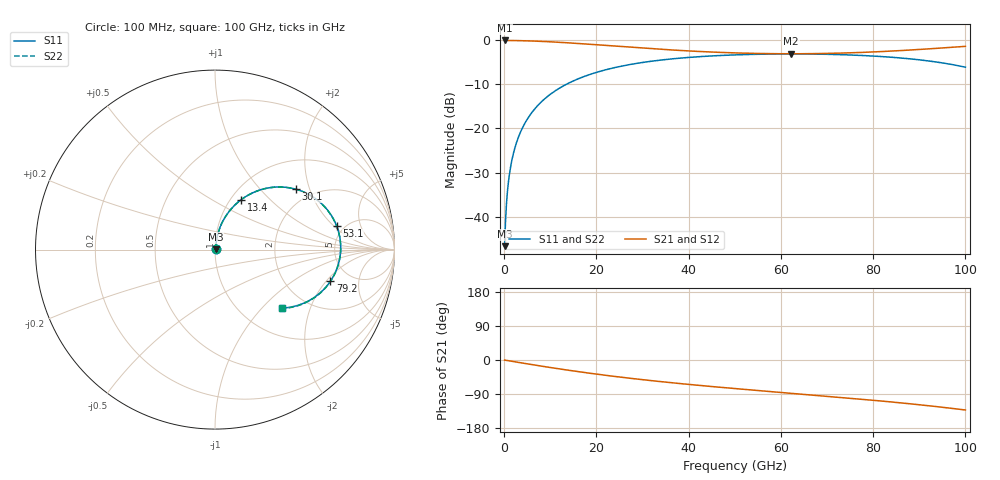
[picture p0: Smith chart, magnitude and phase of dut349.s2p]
! Touchstone file exported from HFSS 2026.1.0
!  File:  C:/ffzhzh/LocalFiles/Ansys_Project_Files/temp_train_RDL_349_1783503191_31944.aedt
!  Generated:  05:34:25 PM Jul  8, 2026
!  Design:  RDL
!  Project:  temp_train_RDL_349_1783503191_31944
! Variables:
!  h_bsmrdl = 2um
!  h_ox = 20um
!  h_rdl = 5um
!  h_sub = 80um
!  h_tmrdl = 3.17um
!  h_tsv = 80um
!  h_via = 3um
!  l_bsmrdl = 300um
!  l_sub = 858.7um
!  l_tmrdl = 458.7um
!  m_sub = 200um
!  pitch = 53.66um
!  r_tsv = 6um
!  s_tmrdl = 10um
!  w_bsmrdl = 18um
!  w_sub = 500um
!  w_tmrdl = 14.11um
!  x_tsv_center1 = 465.755um
!  x_tsv_center2 = 783.755um
!  x_tsv_center3 = 1256.565um
!  x_tsv_center4 = 1574.565um
!  x_tsv_center5 = 2047.375um
!  x_tsv_center6 = 2365.375um
# GHz S MA R 50.000000
! Terminal data exported
! Port[1] = TM_RDL1_1_T1
! Port[2] = TM_RDL1_1_T2
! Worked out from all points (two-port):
!   1000 points, 100 MHz to 100 GHz, reference 50 ohm
!   highest |S21| = -0.03 dB at 100 MHz (marker M1); lowest = -3.1 dB at 62.2 GHz (marker M2)
!   |S21| within 3 dB of the highest: start of sweep to 58.19 GHz; 66.29 GHz to end of sweep
!   lowest |S11| = -46.7 dB at 100 MHz (marker M3), VSWR 1.01, Z = 50.4 + j0.271 ohm
!   |S11| at or under -10 dB: start of sweep to 13.46 GHz
!   |S22| runs from -46.7 to -3.1 dB; largest |S21 - S12| = 1.5e-14
!   S11 on the Smith chart (normalised r, x): 100 MHz: 1.01, +0.01; 13.4 GHz: 1.12, +0.69; 30.1 GHz: 1.64, +1.62; 53.1 GHz: 4.35, +2.16; 79.2 GHz: 3.49, -2.22; 100 GHz: 1.51, -1.31
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0.1  0.004614 35.7  0.9963 -0.2  0.9963 -0.2  0.004614 35.7
! Gamma 0 0 0 0
! Port Impedance 50 0 50 0
0.8  0.02141 76.9  0.9955 -1.7  0.9955 -1.7  0.02141 76.9
1.3  0.03406 79.8  0.995 -2.7  0.995 -2.7  0.03406 79.8
2.2  0.05691 80.7  0.9937 -4.5  0.9937 -4.5  0.05691 80.7
3.4  0.08723 79.7  0.9911 -6.9  0.9911 -6.9  0.08723 79.7
5.1  0.1295 77.1  0.9858 -10.3  0.9858 -10.3  0.1295 77.1
7.3  0.1823 73.2  0.9764 -14.7  0.9764 -14.7  0.1823 73.2
10.1  0.246 68.1  0.9612 -20.0  0.9612 -20.0  0.246 68.1
13.4  0.3151 62.3  0.9397 -26.1  0.9397 -26.1  0.3151 62.2
16.8  0.3791 56.5  0.9151 -32.0  0.9151 -32.0  0.3791 56.5
23.1  0.4784 46.6  0.8669 -42.1  0.8669 -42.1  0.4784 46.6
30.1  0.5616 36.8  0.816 -52.1  0.816 -52.1  0.5616 36.7
33.4  0.5922 32.6  0.7944 -56.4  0.7944 -56.4  0.5922 32.5
41.6  0.6485 23.0  0.7501 -66.2  0.7501 -66.2  0.6485 22.8
50.1  0.6833 13.9  0.7196 -75.4  0.7196 -75.4  0.6833 13.7
53.1  0.6908 10.8  0.7126 -78.6  0.7126 -78.6  0.6908 10.7
62.2  0.7005 1.8  0.7035 -87.7  0.7035 -87.7  0.7005 1.6
66.7  0.6983 -2.6  0.7057 -92.3  0.7057 -92.3  0.6984 -2.8
79.2  0.6664 -15.4  0.7348 -105.3  0.7348 -105.3  0.6665 -15.7
83.4  0.6458 -20.0  0.7523 -110.1  0.7523 -110.1  0.6458 -20.3
92.5  0.5788 -30.9  0.8025 -121.3  0.8025 -121.3  0.5789 -31.3
100  0.4954 -41.1  0.8539 -131.9  0.8539 -131.9  0.4954 -41.4
